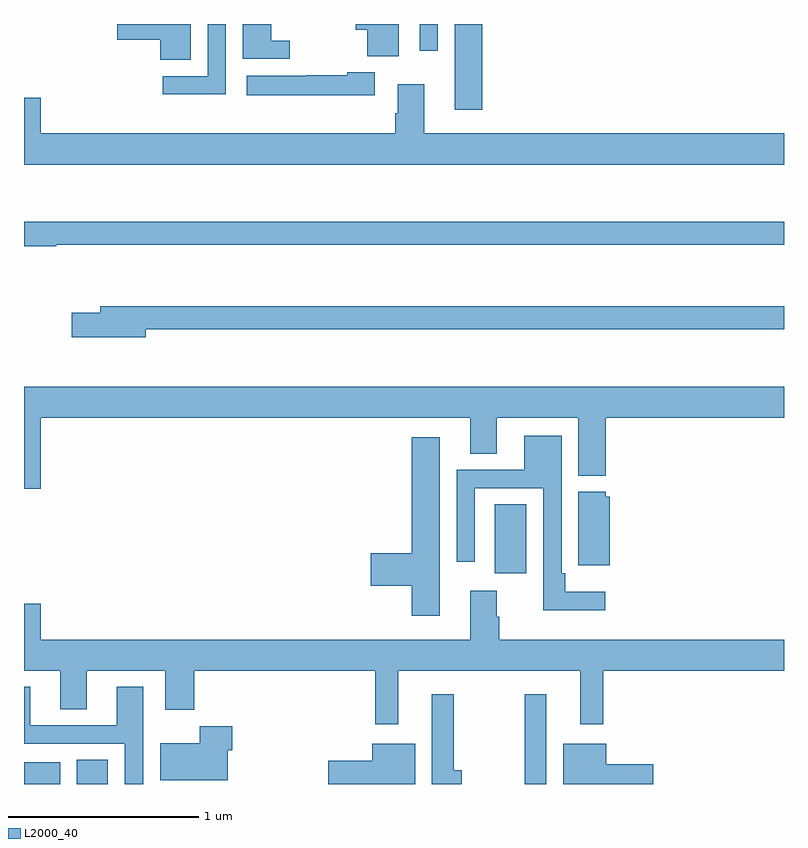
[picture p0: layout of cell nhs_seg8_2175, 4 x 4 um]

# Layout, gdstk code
import gdstk
lib = gdstk.Library(unit=1e-6, precision=1e-09)
def R(c, l, rs):  # rectangles x0, y0, x1, y1
    for r in rs: c.add(gdstk.rectangle(r[:2], r[2:], *l))
def P(c, l, *ps):  # polygons
    for p in ps: c.add(gdstk.Polygon(p, *l))
L2000_40 = (2000, 40)

nhs_seg8_2175 = lib.new_cell('nhs_seg8_2175')
R(nhs_seg8_2175, L2000_40, [(249,1119.9,249.19,1120.015), (249.278,1119.9,249.442,1120.028), (251.635,1119.9,251.749,1120.372), (251.477,1121.01,251.644,1121.372), (251.267,1123.449,251.411,1123.9), (251.082,1123.758,251.178,1123.9)])
P(nhs_seg8_2175, L2000_40, [(249.877,1123.9),(249.492,1123.9),(249.492,1123.817),(249.716,1123.817),(249.716,1123.711),(249.877,1123.711)],
  [(250.399,1123.812),(250.3,1123.812),(250.3,1123.9),(250.151,1123.9),(250.151,1123.716),(250.399,1123.716)],
  [(250.062,1123.9),(249.966,1123.9),(249.966,1123.626),(249.729,1123.626),(249.729,1123.529),(250.062,1123.529)],
  [(250.972,1123.9),(250.745,1123.9),(250.745,1123.871),(250.807,1123.871),(250.807,1123.73),(250.972,1123.73)],
  [(250.846,1123.645),(250.701,1123.645),(250.701,1123.63),(250.486,1123.63),(250.486,1123.627),(250.173,1123.627),(250.173,1123.526),(250.846,1123.526)],
  [(253,1123.324),(251.107,1123.324),(251.107,1123.582),(250.967,1123.582),(250.967,1123.43),(250.955,1123.43),(250.955,1123.324),(249.088,1123.324),(249.088,1123.513),(249,1123.513),(249,1123.16),(253,1123.16)],
  [(249.17,1122.738),(253,1122.738),(253,1122.859),(249,1122.859),(249,1122.73),(249.17,1122.73)],
  [(249.64,1122.294),(253,1122.294),(253,1122.415),(249.401,1122.415),(249.401,1122.381),(249.252,1122.381),(249.252,1122.251),(249.64,1122.251)],
  [(249.088,1121.828),(251.348,1121.828),(251.348,1121.638),(251.488,1121.638),(251.488,1121.828),(251.918,1121.828),(251.918,1121.522),(252.062,1121.522),(252.062,1121.828),(253,1121.828),(253,1121.992),(249,1121.992),(249,1121.454),(249.088,1121.454)],
  [(252.058,1120.912),(251.849,1120.912),(251.849,1121.008),(251.829,1121.008),(251.829,1121.734),(251.633,1121.734),(251.633,1121.553),(251.277,1121.553),(251.277,1121.07),(251.373,1121.07),(251.373,1121.457),(251.733,1121.457),(251.733,1120.814),(252.058,1120.814)],
  [(251.188,1121.725),(251.042,1121.725),(251.042,1121.114),(250.824,1121.114),(250.824,1120.943),(251.042,1120.943),(251.042,1120.785),(251.188,1120.785)],
  [(252.082,1121.412),(252.063,1121.412),(252.063,1121.437),(251.918,1121.437),(251.918,1121.051),(252.082,1121.051)],
  [(250.969,1120.496),(251.927,1120.496),(251.927,1120.215),(252.049,1120.215),(252.049,1120.496),(253,1120.496),(253,1120.66),(251.501,1120.66),(251.501,1120.781),(251.488,1120.781),(251.488,1120.918),(251.348,1120.918),(251.348,1120.66),(249.088,1120.66),(249.088,1120.849),(249,1120.849),(249,1120.496),(249.191,1120.496),(249.191,1120.294),(249.331,1120.294),(249.331,1120.496),(249.743,1120.496),(249.743,1120.29),(249.896,1120.29),(249.896,1120.496),(250.848,1120.496),(250.848,1120.215),(250.969,1120.215)],
  [(249.627,1120.411),(249.488,1120.411),(249.488,1120.209),(249.034,1120.209),(249.034,1120.411),(249,1120.411),(249,1120.113),(249.531,1120.113),(249.531,1119.9),(249.627,1119.9)],
  [(251.305,1119.973),(251.261,1119.973),(251.261,1120.372),(251.147,1120.372),(251.147,1119.9),(251.305,1119.9)],
  [(250.072,1120.077),(250.097,1120.077),(250.097,1120.203),(249.926,1120.203),(249.926,1120.114),(249.716,1120.114),(249.716,1119.92),(250.072,1119.92)],
  [(251.059,1120.111),(250.832,1120.111),(250.832,1120.023),(250.602,1120.023),(250.602,1119.9),(251.059,1119.9)],
  [(252.313,1120.005),(252.064,1120.005),(252.064,1120.111),(251.837,1120.111),(251.837,1119.9),(252.313,1119.9)])

lib.write_gds('nhs_seg8_2175.gds')
